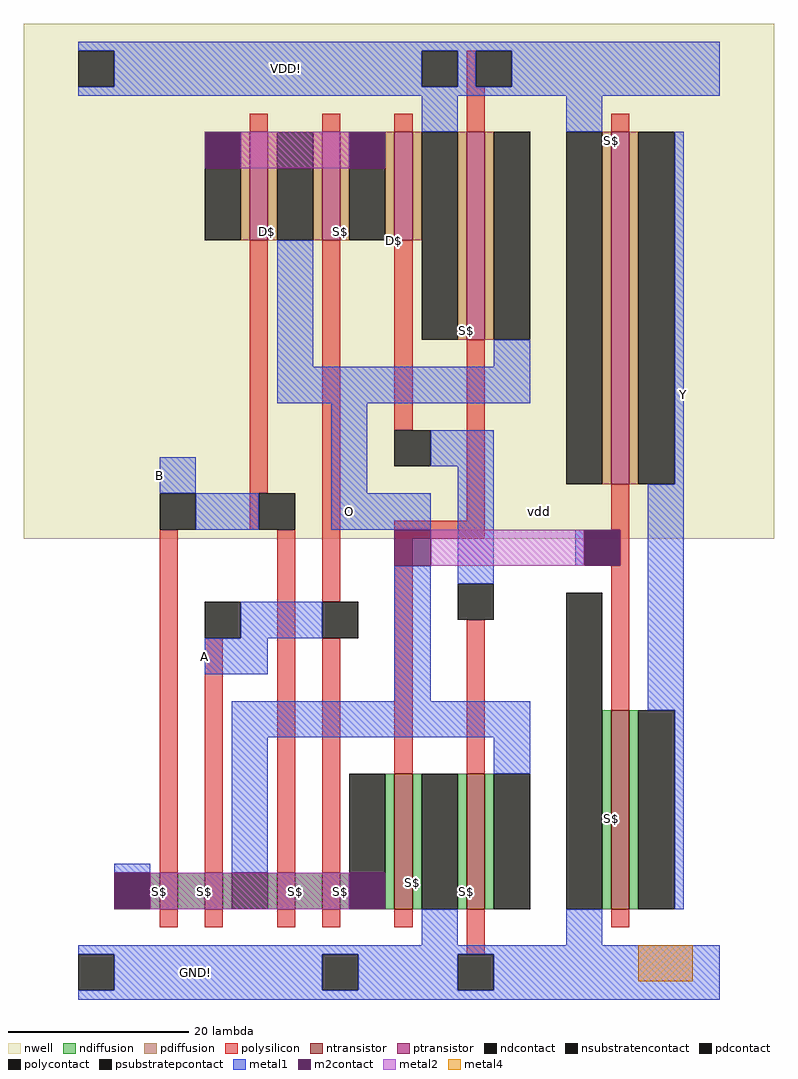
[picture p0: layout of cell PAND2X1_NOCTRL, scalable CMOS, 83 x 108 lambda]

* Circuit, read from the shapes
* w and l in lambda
.subckt PAND2X1_NOCTRL VDD! GND! B A Y
M1 n1 B n2 GND! nfet w=4 l=2
M2 O A n1 GND! nfet w=4 l=2
M3 n3 B O GND! nfet w=4 l=2
M4 n2 A n3 GND! nfet w=4 l=2
M5 GND! VDD! n2 GND! nfet w=15 l=2
M6 O GND! GND! GND! nfet w=15 l=2
M7 Y O GND! GND! nfet w=22 l=2
M8 O B n4 VDD! pfet w=12 l=2
M9 n4 A O VDD! pfet w=12 l=2
M10 VDD! GND! n4 VDD! pfet w=12 l=2
M11 O VDD! VDD! VDD! pfet w=23 l=2
M12 Y O VDD! VDD! pfet w=39 l=2
.ends

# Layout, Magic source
magic
tech scmos
<< nwell >>
rect -8 48 75 105
<< ntransistor >>
rect 7 7 9 11
rect 12 7 14 11
rect 20 7 22 11
rect 25 7 27 11
rect 33 7 35 22
rect 41 7 43 22
rect 57 7 59 29
<< ptransistor >>
rect 17 81 19 93
rect 25 81 27 93
rect 33 81 35 93
rect 41 70 43 93
rect 57 54 59 93
<< ndiffusion >>
rect 6 7 7 11
rect 9 7 12 11
rect 14 7 15 11
rect 19 7 20 11
rect 22 7 25 11
rect 27 7 28 11
rect 32 7 33 22
rect 35 7 36 22
rect 40 7 41 22
rect 43 7 44 22
rect 56 7 57 29
rect 59 7 60 29
<< pdiffusion >>
rect 16 81 17 93
rect 19 81 20 93
rect 24 81 25 93
rect 27 81 28 93
rect 32 81 33 93
rect 35 81 36 93
rect 40 70 41 93
rect 43 70 44 93
rect 56 54 57 93
rect 59 54 60 93
<< ndcontact >>
rect 2 7 6 11
rect 15 7 19 11
rect 28 7 32 22
rect 36 7 40 22
rect 44 7 48 22
rect 52 7 56 42
rect 60 7 64 29
<< pdcontact >>
rect 12 81 16 93
rect 20 81 24 93
rect 28 81 32 93
rect 36 70 40 93
rect 44 70 48 93
rect 52 54 56 93
rect 60 54 64 93
<< psubstratepcontact >>
rect -2 -2 2 2
rect 25 -2 29 2
<< nsubstratencontact >>
rect -2 98 2 102
rect 36 98 40 102
<< polysilicon >>
rect 41 98 42 102
rect 17 93 19 95
rect 25 93 27 95
rect 33 93 35 95
rect 41 93 43 98
rect 57 93 59 95
rect 17 53 19 81
rect 17 49 18 53
rect 7 11 9 49
rect 12 11 14 37
rect 20 11 22 49
rect 25 41 27 81
rect 33 60 35 81
rect 41 50 43 70
rect 33 48 43 50
rect 57 49 59 54
rect 25 11 27 37
rect 33 22 35 48
rect 58 45 59 49
rect 41 22 43 39
rect 57 29 59 45
rect 7 5 9 7
rect 12 5 14 7
rect 20 5 22 7
rect 25 5 27 7
rect 33 5 35 7
rect 41 2 43 7
rect 57 5 59 7
<< polycontact >>
rect 42 98 46 102
rect 7 49 11 53
rect 18 49 22 53
rect 12 37 16 41
rect 33 56 37 60
rect 25 37 29 41
rect 54 45 58 49
rect 40 39 44 43
rect 40 -2 44 2
<< metal1 >>
rect -2 102 69 103
rect 2 98 36 102
rect 40 98 42 102
rect 46 98 69 102
rect -2 97 69 98
rect 36 93 40 97
rect 52 93 56 97
rect 20 67 24 81
rect 44 67 48 70
rect 20 63 48 67
rect 7 53 11 57
rect 26 53 30 63
rect 37 56 44 60
rect 11 49 18 53
rect 26 49 37 53
rect 16 37 25 41
rect 12 33 19 37
rect 33 30 37 45
rect 40 43 44 56
rect 64 54 65 93
rect 53 45 54 49
rect 15 26 48 30
rect 2 11 6 12
rect 15 11 19 26
rect 44 22 48 26
rect 61 29 65 54
rect 64 7 65 29
rect 36 3 40 7
rect 52 3 56 7
rect -2 2 69 3
rect 2 -2 25 2
rect 29 -2 40 2
rect 44 -2 69 2
rect -2 -3 69 -2
<< m2contact >>
rect 12 89 16 93
rect 28 89 32 93
rect 33 45 37 49
rect 54 45 58 49
rect 2 7 6 11
rect 28 7 32 11
<< metal2 >>
rect 16 89 28 93
rect 37 45 54 49
rect 6 7 28 11
<< metal4 >>
rect 60 -1 66 3
<< labels >>
rlabel ntransistor 7 9 7 9 1 S$
rlabel ntransistor 9 9 9 9 1 D$
rlabel ntransistor 12 9 12 9 1 S$
rlabel ntransistor 14 9 14 9 1 D$
rlabel ntransistor 22 9 22 9 1 S$
rlabel ntransistor 20 9 20 9 1 D$
rlabel ntransistor 27 9 27 9 1 S$
rlabel ntransistor 25 9 25 9 1 D$
rlabel metal1 21 100 21 100 1 VDD!
port 1 n power bidirectional
rlabel metal1 7 53 7 57 1 B
port 3 n signal input
rlabel metal1 12 33 12 37 1 A
port 4 n signal input
rlabel space -8 -3 106 105 1 vdd
rlabel space -8 -3 106 105 1 gnd
rlabel ntransistor 35 10 35 10 1 S$
rlabel ntransistor 33 10 33 10 1 D$
rlabel ptransistor 27 82 27 82 1 S$
rlabel ptransistor 25 82 25 82 1 D$
rlabel ptransistor 19 82 19 82 1 D$
rlabel ptransistor 17 82 17 82 1 S$
rlabel space -8 -3 107 105 1 vdd
rlabel space -8 -3 107 105 1 gnd
rlabel ntransistor 41 9 41 9 1 S$
rlabel ntransistor 43 9 43 9 1 D$
rlabel ptransistor 33 81 33 81 1 D$
rlabel ptransistor 35 81 35 81 1 S$
rlabel metal1 11 0 11 0 1 GND!
port 2 n power bidirectional
rlabel ntransistor 57 17 57 17 1 S$
rlabel ntransistor 59 17 59 17 1 D$
rlabel ptransistor 57 92 57 92 1 S$
rlabel ptransistor 59 92 59 92 1 D$
rlabel metal1 65 62 65 66 1 Y
port 5 n signal output
rlabel metal1 28 51 28 51 1 O
rlabel ptransistor 41 71 41 71 1 S$
rlabel ptransistor 43 71 43 71 1 D$
<< end >>
